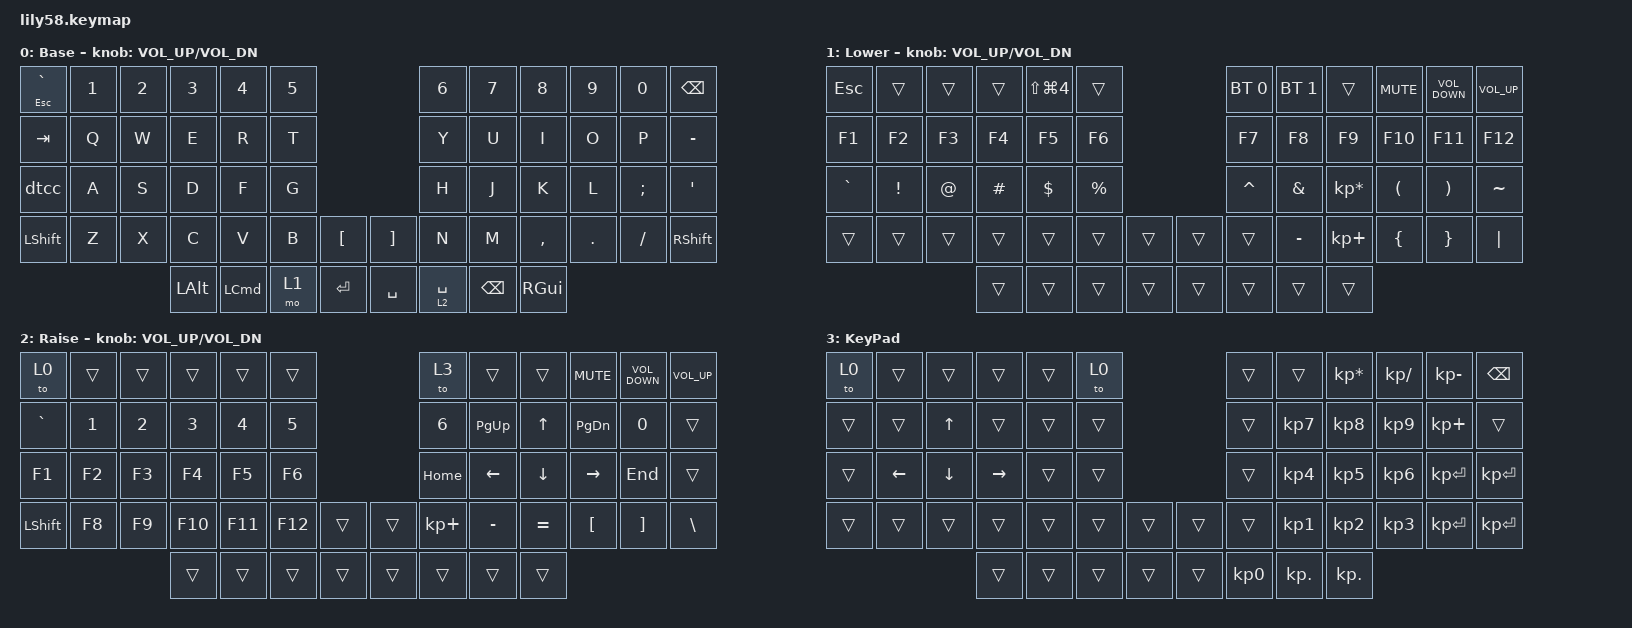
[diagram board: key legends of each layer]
/*
 * Copyright (c) 2020 The ZMK Contributors
 *
 * SPDX-License-Identifier: MIT
 */

#include <behaviors.dtsi>
#include <dt-bindings/zmk/bt.h>
#include <dt-bindings/zmk/keys.h>
#include <dt-bindings/zmk/keys.h>

/ {
    behaviors {
        hlt: hlt {
            compatible = "zmk,behavior-hold-tap";
            label = "hold and tap";
            bindings = <&mo>, <&kp>;

            #binding-cells = <2>;
            tapping-term-ms = <200>;
        };

        dtcc: dtcc {
            compatible = "zmk,behavior-tap-dance";
            label = "dbl-tap-ctrl-caps";
            #binding-cells = <0>;
            bindings = <&kp LEFT_CONTROL>, <&kt CAPSLOCK>;
        };
    };

    combos {
        compatible = "zmk,combos";

        KeyPad {
            bindings = <&tog 3>;
            key-positions = <55 52>;
        };
    };

    keymap {
        compatible = "zmk,keymap";

        default_layer {
            // ------------------------------------------------------------------------------------------------------------
            // |  ESC  |  1  |  2  |  3   |  4   |  5   |                   |  6   |  7    |  8    |  9   |   0   |   `   |
            // |  TAB  |  Q  |  W  |  E   |  R   |  T   |                   |  Y   |  U    |  I    |  O   |   P   |   -   |
            // |  CTRL |  A  |  S  |  D   |  F   |  G   |                   |  H   |  J    |  K    |  L   |   ;   |   '   |
            // | SHIFT |  Z  |  X  |  C   |  V   |  B   |   "["  |  |  "]"  |  N   |  M    |  ,    |  .   |   /   | SHIFT |
            //                     | ALT  | GUI  | LOWER|  SPACE |  | ENTER | RAISE| BSPC  | GUI   |

            display-name = "Base";
            bindings = <
&mt ESCAPE GRAVE  &kp N1  &kp N2  &kp N3        &kp N4            &kp N5                          &kp N6        &kp N7    &kp N8     &kp N9   &kp N0    &kp BACKSPACE
&kp TAB           &kp Q   &kp W   &kp E         &kp R             &kp T                           &kp Y         &kp U     &kp I      &kp O    &kp P     &kp MINUS
&dtcc             &kp A   &kp S   &kp D         &kp F             &kp G                           &kp H         &kp J     &kp K      &kp L    &kp SEMI  &kp SQT
&kp LSHFT         &kp Z   &kp X   &kp C         &kp V             &kp B   &kp LBKT     &kp RBKT   &kp N         &kp M     &kp COMMA  &kp DOT  &kp FSLH  &kp RIGHT_SHIFT
                                  &kp LEFT_ALT  &kp LEFT_COMMAND  &mo 1   &kp ENTER    &kp SPACE  &hlt 2 SPACE  &kp BSPC  &kp RGUI
            >;

            sensor-bindings = <&inc_dec_kp C_VOL_UP C_VOL_DN>;
        };

        lower_layer {
            // ------------------------------------------------------------------------------------------------------------
            // | BTCLR | BT1 | BT2 |  BT3 |  BT4 |  BT5 |                   |      |       |       |      |       |       |
            // |  F1   |  F2 |  F3 |  F4  |  F5  |  F6  |                   |  F7  |  F8   |  F9   |  F10 |  F11  |  F12  |
            // |   `   |  !  |  @  |  #   |  $   |  %   |                   |  ^   |  &    |  *    |  (   |   )   |   ~   |
            // |       |     |     |      |      |      |        |  |       |      |  _    |  +    |  {   |   }   |  "|"  |
            //                     |      |      |      |        |  |       |      |       |       |

            display-name = "Lower";
            bindings = <
&kp ESCAPE  &trans    &trans  &trans    &kp LS(LG(NUMBER_4))  &trans                       &bt BT_SEL 0  &bt BT_SEL 1  &trans           &kp K_MUTE      &kp C_VOLUME_DOWN      &kp C_VOLUME_UP
&kp F1      &kp F2    &kp F3  &kp F4    &kp F5                &kp F6                       &kp F7        &kp F8        &kp F9           &kp F10         &kp F11                &kp F12
&kp GRAVE   &kp EXCL  &kp AT  &kp HASH  &kp DOLLAR            &kp PRCNT                    &kp CARET     &kp AMPS      &kp KP_MULTIPLY  &kp LPAR        &kp RIGHT_PARENTHESIS  &kp TILDE
&trans      &trans    &trans  &trans    &trans                &trans     &trans    &trans  &trans        &kp MINUS     &kp KP_PLUS      &kp LEFT_BRACE  &kp RIGHT_BRACE        &kp PIPE
                              &trans    &trans                &trans     &trans    &trans  &trans        &trans        &trans
            >;

            sensor-bindings = <&inc_dec_kp C_VOL_UP C_VOL_DN>;
        };

        raise_layer {
            // ------------------------------------------------------------------------------------------------------------
            // |       |     |     |      |      |      |                   |      |       |       |      |       |       |
            // |   `   |  1  |  2  |  3   |  4   |  5   |                   |  6   |   7   |   8   |  9   |   0   |       |
            // |   F1  |  F2 |  F3 |  F4  |  F5  |  F6  |                   |      |   <-  |   v   |  ^   |  ->   |       |
            // |   F7  |  F8 |  F9 |  F10 |  F11 |  F12 |        |  |       |  +   |   -   |   =   |  [   |   ]   |   \   |
            //                     |      |      |      |        |  |       |      |       |       |

            display-name = "Raise";
            bindings = <
&to 0           &trans  &trans  &trans   &trans   &trans                     &to 3        &trans       &trans     &kp K_MUTE     &kp C_VOLUME_DOWN  &kp C_VOLUME_UP
&kp GRAVE       &kp N1  &kp N2  &kp N3   &kp N4   &kp N5                     &kp N6       &kp PAGE_UP  &kp UP     &kp PAGE_DOWN  &kp N0             &trans
&kp F1          &kp F2  &kp F3  &kp F4   &kp F5   &kp F6                     &kp HOME     &kp LEFT     &kp DOWN   &kp RIGHT      &kp END            &trans
&kp LEFT_SHIFT  &kp F8  &kp F9  &kp F10  &kp F11  &kp F12  &trans    &trans  &kp KP_PLUS  &kp MINUS    &kp EQUAL  &kp LBKT       &kp RBKT           &kp BSLH
                                &trans   &trans   &trans   &trans    &trans  &trans       &trans       &trans
            >;

            sensor-bindings = <&inc_dec_kp C_VOL_UP C_VOL_DN>;
        };

        KeyPad {
            bindings = <
&to 0   &trans          &trans        &trans           &trans  &to 0                     &trans           &trans           &kp KP_MULTIPLY  &kp KP_DIVIDE    &kp KP_MINUS  &kp BACKSPACE
&trans  &trans          &kp UP_ARROW  &trans           &trans  &trans                    &trans           &kp KP_NUMBER_7  &kp KP_NUMBER_8  &kp KP_NUMBER_9  &kp KP_PLUS   &trans
&trans  &kp LEFT_ARROW  &kp DOWN      &kp RIGHT_ARROW  &trans  &trans                    &trans           &kp KP_NUMBER_4  &kp KP_NUMBER_5  &kp KP_NUMBER_6  &kp KP_ENTER  &kp KP_ENTER
&trans  &trans          &trans        &trans           &trans  &trans  &trans    &trans  &trans           &kp KP_NUMBER_1  &kp KP_NUMBER_2  &kp KP_NUMBER_3  &kp KP_ENTER  &kp KP_ENTER
                                      &trans           &trans  &trans  &trans    &trans  &kp KP_NUMBER_0  &kp KP_DOT       &kp KP_DOT
            >;

            label = "KeyPad";
        };
    };
};
